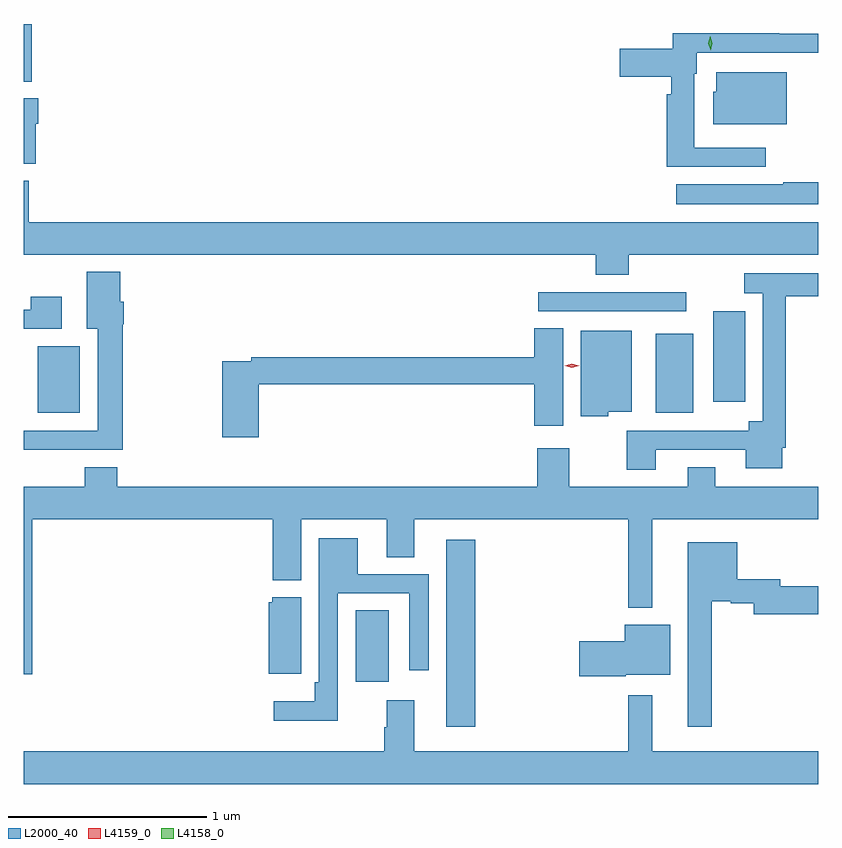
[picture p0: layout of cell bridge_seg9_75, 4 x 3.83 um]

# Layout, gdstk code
import gdstk
lib = gdstk.Library(unit=1e-6, precision=1e-09)
def R(c, l, rs):  # rectangles x0, y0, x1, y1
    for r in rs: c.add(gdstk.rectangle(r[:2], r[2:], *l))
def P(c, l, *ps):  # polygons
    for p in ps: c.add(gdstk.Polygon(p, *l))
L2000_40 = (2000, 40)
L4158_0 = (4158, 0)
L4159_0 = (4159, 0)

bridge_seg9_75 = lib.new_cell('bridge_seg9_75')
R(bridge_seg9_75, L2000_40, [(1021.604,1216.689,1021.751,1217.629), (1021.148,1216.914,1021.315,1217.276), (1019.546,1218.269,1019.758,1218.604), (1022.66,1218.269,1022.848,1218.667), (1022.948,1218.324,1023.109,1218.781), (1022.067,1218.78,1022.812,1218.876), (1019.477,1219.937,1019.516,1220.227)])
P(bridge_seg9_75, L2000_40, [(1023.214,1219.605),(1022.853,1219.605),(1022.853,1219.977),(1022.866,1219.977),(1022.866,1220.082),(1023.477,1220.082),(1023.477,1220.178),(1023.281,1220.178),(1023.281,1220.18),(1022.744,1220.18),(1022.744,1220.103),(1022.478,1220.103),(1022.478,1219.961),(1022.737,1219.961),(1022.737,1219.873),(1022.714,1219.873),(1022.714,1219.509),(1023.214,1219.509)],
  [(1023.319,1219.984),(1022.963,1219.984),(1022.963,1219.887),(1022.948,1219.887),(1022.948,1219.721),(1023.319,1219.721)],
  [(1019.537,1219.725),(1019.549,1219.725),(1019.549,1219.852),(1019.477,1219.852),(1019.477,1219.523),(1019.537,1219.523)],
  [(1022.522,1219.064),(1023.477,1219.064),(1023.477,1219.228),(1019.501,1219.228),(1019.501,1219.438),(1019.477,1219.438),(1019.477,1219.064),(1022.357,1219.064),(1022.357,1218.965),(1022.522,1218.965)],
  [(1023.477,1219.43),(1023.301,1219.43),(1023.301,1219.42),(1022.763,1219.42),(1022.763,1219.319),(1023.477,1219.319)],
  [(1019.975,1218.714),(1019.98,1218.714),(1019.98,1218.828),(1019.962,1218.828),(1019.962,1218.979),(1019.795,1218.979),(1019.795,1218.692),(1019.849,1218.692),(1019.849,1218.18),(1019.477,1218.18),(1019.477,1218.083),(1019.975,1218.083)],
  [(1022.659,1218.084),(1023.113,1218.084),(1023.113,1217.99),(1023.295,1217.99),(1023.295,1218.094),(1023.314,1218.094),(1023.314,1218.856),(1023.477,1218.856),(1023.477,1218.972),(1023.105,1218.972),(1023.105,1218.872),(1023.198,1218.872),(1023.198,1218.226),(1023.128,1218.226),(1023.128,1218.18),(1022.512,1218.18),(1022.512,1217.982),(1022.659,1217.982)],
  [(1019.668,1218.853),(1019.512,1218.853),(1019.512,1218.789),(1019.477,1218.789),(1019.477,1218.693),(1019.668,1218.693)],
  [(1020.659,1218.412),(1022.048,1218.412),(1022.048,1218.204),(1022.194,1218.204),(1022.194,1218.695),(1022.048,1218.695),(1022.048,1218.548),(1020.622,1218.548),(1020.622,1218.528),(1020.476,1218.528),(1020.476,1218.147),(1020.659,1218.147)],
  [(1022.421,1218.275),(1022.539,1218.275),(1022.539,1218.682),(1022.282,1218.682),(1022.282,1218.251),(1022.421,1218.251)],
  [(1019.519,1217.732),(1020.731,1217.732),(1020.731,1217.426),(1020.874,1217.426),(1020.874,1217.732),(1021.304,1217.732),(1021.304,1217.542),(1021.444,1217.542),(1021.444,1217.732),(1022.52,1217.732),(1022.52,1217.288),(1022.641,1217.288),(1022.641,1217.732),(1023.477,1217.732),(1023.477,1217.896),(1022.959,1217.896),(1022.959,1217.995),(1022.819,1217.995),(1022.819,1217.896),(1022.223,1217.896),(1022.223,1218.091),(1022.063,1218.091),(1022.063,1217.896),(1019.948,1217.896),(1019.948,1217.995),(1019.783,1217.995),(1019.783,1217.896),(1019.477,1217.896),(1019.477,1216.953),(1019.519,1216.953)],
  [(1021.059,1217.361),(1021.419,1217.361),(1021.419,1216.974),(1021.515,1216.974),(1021.515,1217.457),(1021.159,1217.457),(1021.159,1217.638),(1020.963,1217.638),(1020.963,1216.912),(1020.943,1216.912),(1020.943,1216.816),(1020.735,1216.816),(1020.735,1216.718),(1021.059,1216.718)],
  [(1022.941,1217.321),(1023.038,1217.321),(1023.038,1217.309),(1023.152,1217.309),(1023.152,1217.255),(1023.477,1217.255),(1023.477,1217.397),(1023.286,1217.397),(1023.286,1217.431),(1023.07,1217.431),(1023.07,1217.617),(1022.819,1217.617),(1022.819,1216.689),(1022.941,1216.689)],
  [(1020.874,1217.341),(1020.729,1217.341),(1020.729,1217.316),(1020.71,1217.316),(1020.71,1216.955),(1020.874,1216.955)],
  [(1022.508,1216.949),(1022.731,1216.949),(1022.731,1217.203),(1022.504,1217.203),(1022.504,1217.12),(1022.274,1217.12),(1022.274,1216.942),(1022.508,1216.942)],
  [(1023.477,1216.564),(1022.641,1216.564),(1022.641,1216.846),(1022.52,1216.846),(1022.52,1216.564),(1021.444,1216.564),(1021.444,1216.822),(1021.304,1216.822),(1021.304,1216.685),(1021.292,1216.685),(1021.292,1216.564),(1019.477,1216.564),(1019.477,1216.4),(1023.477,1216.4)])
P(bridge_seg9_75, L4158_0, [(1022.935,1220.094),(1022.935,1220.094),(1022.924,1220.13),(1022.933,1220.166),(1022.933,1220.166),(1022.933,1220.166),(1022.944,1220.13),(1022.936,1220.094)])
P(bridge_seg9_75, L4159_0, [(1022.237,1218.495),(1022.2,1218.505),(1022.2,1218.506),(1022.2,1218.506),(1022.237,1218.515),(1022.274,1218.505),(1022.275,1218.505),(1022.274,1218.505)])

lib.write_gds('bridge_seg9_75.gds')
